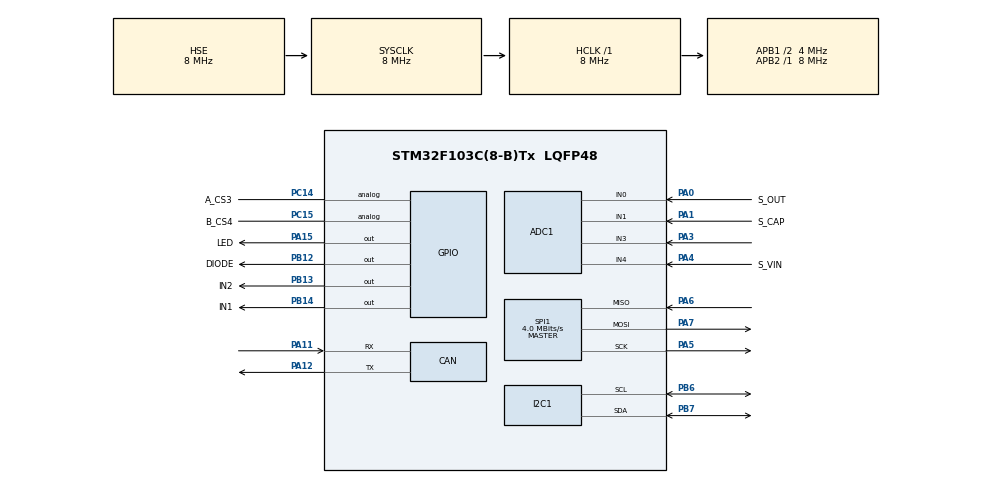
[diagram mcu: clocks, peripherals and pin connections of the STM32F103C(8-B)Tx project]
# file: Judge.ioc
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ADC1.Channel-0\#ChannelRegularConversion=ADC_CHANNEL_0
ADC1.ContinuousConvMode=DISABLE
ADC1.DataAlign=ADC_DATAALIGN_RIGHT
ADC1.DiscontinuousConvMode=DISABLE
ADC1.EnableAnalogWatchDog=false
ADC1.EnableRegularConversion=ENABLE
ADC1.ExternalTrigConv=ADC_SOFTWARE_START
ADC1.InjNumberOfConversion=0
ADC1.NbrOfConversion=1
ADC1.NbrOfConversionFlag=1
ADC1.Rank-0\#ChannelRegularConversion=1
ADC1.SamplingTime-0\#ChannelRegularConversion=ADC_SAMPLETIME_1CYCLE_5
ADC1.ScanConvMode=ADC_SCAN_DISABLE
ADC1.master=1
CAN.CalculateTimeBit=12000
CAN.CalculateTimeQuantum=4000.0
FREERTOS.INCLUDE_uxTaskGetStackHighWaterMark=1
FREERTOS.INCLUDE_vTaskDelayUntil=1
FREERTOS.Tasks01=defaultTask,0,128,StartDefaultTask,Default,NULL
FREERTOS.configCHECK_FOR_STACK_OVERFLOW=1
FREERTOS.configTIMER_TASK_STACK_DEPTH=128
FREERTOS.configUSE_TIMERS=1
FREERTOS.configUSE_TRACE_FACILITY=1
Mcu.Family=STM32F1
Mcu.Name=STM32F103C(8-B)Tx
Mcu.Package=LQFP48
NVIC.PriorityGroup=NVIC_PRIORITYGROUP_4
NVIC.TIM3_IRQn=true\:5\:0\:true\:false\:true\:true\:true
NVIC.TIM4_IRQn=true\:0\:0\:false\:false\:true\:false\:false
NVIC.TimeBase=TIM4_IRQn
NVIC.TimeBaseIP=TIM4
PA0-WKUP.GPIO_Label=S_OUT
PA0-WKUP.Signal=SharedAnalog_PA0
PA1.GPIO_Label=S_CAP
PA1.Signal=SharedAnalog_PA1
PA11.Mode=Master
PA11.Signal=CAN_RX
PA12.Mode=Master
PA12.Signal=CAN_TX
PA13.Mode=Serial_Wire
PA13.Signal=SYS_JTMS-SWDIO
PA14.Mode=Serial_Wire
PA14.Signal=SYS_JTCK-SWCLK
PA15.GPIO_Label=LED
PA15.Signal=GPIO_Output
PA3.Signal=SharedAnalog_PA3
PA4.GPIO_Label=S_VIN
PA4.Signal=SharedAnalog_PA4
PA5.Mode=Full_Duplex_Master
PA5.Signal=SPI1_SCK
PA6.Mode=Full_Duplex_Master
PA6.Signal=SPI1_MISO
PA7.Mode=Full_Duplex_Master
PA7.Signal=SPI1_MOSI
PB12.GPIO_Label=DIODE
PB12.Signal=GPIO_Output
PB13.GPIO_Label=IN2
PB13.Signal=GPIO_Output
PB14.GPIO_Label=IN1
PB14.Signal=GPIO_Output
PB6.Mode=I2C
PB6.Signal=I2C1_SCL
PB7.Mode=I2C
PB7.Signal=I2C1_SDA
PC14-OSC32_IN.GPIO_Label=A_CS3
PC14-OSC32_IN.Signal=GPIO_Analog
PC15-OSC32_OUT.GPIO_Label=B_CS4
PC15-OSC32_OUT.Signal=GPIO_Analog
PD0-OSC_IN.Mode=HSE-External-Oscillator
PD0-OSC_IN.Signal=RCC_OSC_IN
PD1-OSC_OUT.Mode=HSE-External-Oscillator
PD1-OSC_OUT.Signal=RCC_OSC_OUT
ProjectManager.HeapSize=0x200
ProjectManager.StackSize=0x400
ProjectManager.TargetToolchain=MDK-ARM V5
RCC.ADCPresc=RCC_ADCPCLK2_DIV6
RCC.AHBFreq_Value=8000000
RCC.APB1CLKDivider=RCC_HCLK_DIV2
RCC.APB1Freq_Value=4000000
RCC.APB1TimFreq_Value=8000000
RCC.APB2Freq_Value=8000000
RCC.APB2TimFreq_Value=8000000
RCC.HCLKFreq_Value=8000000
RCC.PLLMUL=RCC_PLL_MUL9
RCC.PLLSourceVirtual=RCC_PLLSOURCE_HSE
RCC.SYSCLKFreq_VALUE=8000000
RCC.SYSCLKSource=RCC_SYSCLKSOURCE_HSE
RCC.USBFreq_Value=72000000
SH.SharedAnalog_PA0.0=GPIO_Analog
SH.SharedAnalog_PA0.1=ADC1_IN0,IN0
SH.SharedAnalog_PA1.0=GPIO_Analog
SH.SharedAnalog_PA1.1=ADC1_IN1,IN1
SH.SharedAnalog_PA3.0=GPIO_Analog
SH.SharedAnalog_PA3.1=ADC1_IN3,IN3
SH.SharedAnalog_PA4.0=GPIO_Analog
SH.SharedAnalog_PA4.1=ADC1_IN4,IN4
SPI1.CalculateBaudRate=4.0 MBits/s
SPI1.Direction=SPI_DIRECTION_2LINES
SPI1.Mode=SPI_MODE_MASTER
SPI1.VirtualType=VM_MASTER
TIM3.Period=10000
TIM3.Prescaler=72-1
VP_FREERTOS_VS_ENABLE.Mode=Enabled
VP_SYS_VS_tim4.Mode=TIM4
VP_TIM3_VS_ClockSourceINT.Mode=Internal
board=Judge

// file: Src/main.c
/**
  ******************************************************************************
  * File Name          : main.c
  * Description        : Main program body
  ******************************************************************************
  * This notice applies to any and all portions of this file
  * that are not between comment pairs USER CODE BEGIN and
  * USER CODE END. Other portions of this file, whether
  * inserted by the user or by software development tools
  * are owned by their respective copyright owners.
  *
  * Copyright (c) 2020 STMicroelectronics International N.V.
  * All rights reserved.
  *
  * Redistribution and use in source and binary forms, with or without
  * modification, are permitted, provided that the following conditions are met:
  *
  * 1. Redistribution of source code must retain the above copyright notice,
  *    this list of conditions and the following disclaimer.
  * 2. Redistributions in binary form must reproduce the above copyright notice,
  *    this list of conditions and the following disclaimer in the documentation
  *    and/or other materials provided with the distribution.
  * 3. Neither the name of STMicroelectronics nor the names of other
  *    contributors to this software may be used to endorse or promote products
  *    derived from this software without specific written permission.
  * 4. This software, including modifications and/or derivative works of this
  *    software, must execute solely and exclusively on microcontroller or
  *    microprocessor devices manufactured by or for STMicroelectronics.
  * 5. Redistribution and use of this software other than as permitted under
  *    this license is void and will automatically terminate your rights under
  *    this license.
  *
  * THIS SOFTWARE IS PROVIDED BY STMICROELECTRONICS AND CONTRIBUTORS "AS IS"
  * AND ANY EXPRESS, IMPLIED OR STATUTORY WARRANTIES, INCLUDING, BUT NOT
  * LIMITED TO, THE IMPLIED WARRANTIES OF MERCHANTABILITY, FITNESS FOR A
  * PARTICULAR PURPOSE AND NON-INFRINGEMENT OF THIRD PARTY INTELLECTUAL PROPERTY
  * RIGHTS ARE DISCLAIMED TO THE FULLEST EXTENT PERMITTED BY LAW. IN NO EVENT
  * SHALL STMICROELECTRONICS OR CONTRIBUTORS BE LIABLE FOR ANY DIRECT, INDIRECT,
  * INCIDENTAL, SPECIAL, EXEMPLARY, OR CONSEQUENTIAL DAMAGES (INCLUDING, BUT NOT
  * LIMITED TO, PROCUREMENT OF SUBSTITUTE GOODS OR SERVICES; LOSS OF USE, DATA,
  * OR PROFITS; OR BUSINESS INTERRUPTION) HOWEVER CAUSED AND ON ANY THEORY OF
  * LIABILITY, WHETHER IN CONTRACT, STRICT LIABILITY, OR TORT (INCLUDING
  * NEGLIGENCE OR OTHERWISE) ARISING IN ANY WAY OUT OF THE USE OF THIS SOFTWARE,
  * EVEN IF ADVISED OF THE POSSIBILITY OF SUCH DAMAGE.
  *
  ******************************************************************************
  */

#include "main.h"
#include "stm32f1xx_hal.h"
#include "cmsis_os.h"
#include "adc.h"
#include "can.h"
#include "i2c.h"
#include "spi.h"
#include "tim.h"
#include "gpio.h"
#include "LED.h"
#include "bxCAN.h"
#include "stm32f1xx_hal.h"
#include "gpio.h"

/* USER CODE BEGIN PV */
/* Private variables ---------------------------------------------------------*/

/* USER CODE END PV */

void SystemClock_Config(void);
void MX_FREERTOS_Init(void);

/* USER CODE BEGIN PFP */
/* Private function prototypes -----------------------------------------------*/

/* USER CODE END PFP */

/* USER CODE BEGIN 0 */
static	int i;
static	int j;
/* USER CODE END 0 */

int main(void)
{

  /* MCU Configuration----------------------------------------------------------*/

  /* Reset of all peripherals, Initializes the Flash interface and the Systick. */
  HAL_Init();
	i = 0;
	j = 0;

  /* Configure the system clock */
  SystemClock_Config();
	i++;

  /* Initialize all configured peripherals */
  MX_GPIO_Init();
  MX_TIM3_Init();
  MX_ADC1_Init();
  MX_CAN_Init();
  MX_I2C1_Init();
  MX_SPI1_Init();
	i++;
  /* USER CODE BEGIN 2 */
	extern void can_processInit();
	extern void LED_init();
	extern void pathMonitorInit();
	extern void buckInit();
	extern void voltMoninit();
	extern void pathControlInit();
	extern void canFeedbackInit();
	can_processInit();
	LED_init();
	pathMonitorInit();
	buckInit();
	voltMoninit();
	pathControlInit();
	canFeedbackInit();
	i = i+1;
  /* USER CODE END 2 */

  /* Call init function for freertos objects (in freertos.c) */
  MX_FREERTOS_Init();

  /* Start scheduler */

	extern void App_Task_Create();
	App_Task_Create();
	osKernelStart();
	i++;
  vTaskStartScheduler();
  /* We should never get here as control is now taken by the scheduler */

  /* Infinite loop */
  while (1)
  {

  }

}

/** System Clock Configuration
*/
void SystemClock_Config(void)
{

  RCC_OscInitTypeDef RCC_OscInitStruct;
  RCC_ClkInitTypeDef RCC_ClkInitStruct;
  RCC_PeriphCLKInitTypeDef PeriphClkInit;

    /**Initializes the CPU, AHB and APB busses clocks
    */
  RCC_OscInitStruct.OscillatorType = RCC_OSCILLATORTYPE_HSE;
  RCC_OscInitStruct.HSEState = RCC_HSE_ON;
  RCC_OscInitStruct.PLL.PLLState = RCC_PLL_NONE;
  if (HAL_RCC_OscConfig(&RCC_OscInitStruct) != HAL_OK)
  {
    _Error_Handler(__FILE__, __LINE__);
  }

    /**Initializes the CPU, AHB and APB busses clocks
    */
  RCC_ClkInitStruct.ClockType = RCC_CLOCKTYPE_HCLK|RCC_CLOCKTYPE_SYSCLK
                              |RCC_CLOCKTYPE_PCLK1|RCC_CLOCKTYPE_PCLK2;
  RCC_ClkInitStruct.SYSCLKSource = RCC_SYSCLKSOURCE_HSE;
  RCC_ClkInitStruct.AHBCLKDivider = RCC_SYSCLK_DIV1;
  RCC_ClkInitStruct.APB1CLKDivider = RCC_HCLK_DIV2;
  RCC_ClkInitStruct.APB2CLKDivider = RCC_HCLK_DIV1;

  if (HAL_RCC_ClockConfig(&RCC_ClkInitStruct, FLASH_LATENCY_0) != HAL_OK)
  {
    _Error_Handler(__FILE__, __LINE__);
  }

  PeriphClkInit.PeriphClockSelection = RCC_PERIPHCLK_ADC;
  PeriphClkInit.AdcClockSelection = RCC_ADCPCLK2_DIV6;
  if (HAL_RCCEx_PeriphCLKConfig(&PeriphClkInit) != HAL_OK)
  {
    _Error_Handler(__FILE__, __LINE__);
  }

    /**Configure the Systick interrupt time
    */
  HAL_SYSTICK_Config(HAL_RCC_GetHCLKFreq()/1000);

    /**Configure the Systick
    */
  HAL_SYSTICK_CLKSourceConfig(SYSTICK_CLKSOURCE_HCLK);

  /* SysTick_IRQn interrupt configuration */
  HAL_NVIC_SetPriority(SysTick_IRQn, 15, 0);
}

void HAL_TIM_PeriodElapsedCallback(TIM_HandleTypeDef *htim)
{
  if (htim->Instance == TIM4) {
    HAL_IncTick();
  }
}

void _Error_Handler(char * file, int line)
{
  while(1)
  {
  }
}

/************************ (C) COPYRIGHT STMicroelectronics *****END OF FILE****/

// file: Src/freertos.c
/**
  ******************************************************************************
  * File Name          : freertos.c
  * Description        : Code for freertos applications
  ******************************************************************************
  * This notice applies to any and all portions of this file
  * that are not between comment pairs USER CODE BEGIN and
  * USER CODE END. Other portions of this file, whether
  * inserted by the user or by software development tools
  * are owned by their respective copyright owners.
  *
  * Copyright (c) 2020 STMicroelectronics International N.V.
  * All rights reserved.
  *
  * Redistribution and use in source and binary forms, with or without
  * modification, are permitted, provided that the following conditions are met:
  *
  * 1. Redistribution of source code must retain the above copyright notice,
  *    this list of conditions and the following disclaimer.
  * 2. Redistributions in binary form must reproduce the above copyright notice,
  *    this list of conditions and the following disclaimer in the documentation
  *    and/or other materials provided with the distribution.
  * 3. Neither the name of STMicroelectronics nor the names of other
  *    contributors to this software may be used to endorse or promote products
  *    derived from this software without specific written permission.
  * 4. This software, including modifications and/or derivative works of this
  *    software, must execute solely and exclusively on microcontroller or
  *    microprocessor devices manufactured by or for STMicroelectronics.
  * 5. Redistribution and use of this software other than as permitted under
  *    this license is void and will automatically terminate your rights under
  *    this license.
  *
  * THIS SOFTWARE IS PROVIDED BY STMICROELECTRONICS AND CONTRIBUTORS "AS IS"
  * AND ANY EXPRESS, IMPLIED OR STATUTORY WARRANTIES, INCLUDING, BUT NOT
  * LIMITED TO, THE IMPLIED WARRANTIES OF MERCHANTABILITY, FITNESS FOR A
  * PARTICULAR PURPOSE AND NON-INFRINGEMENT OF THIRD PARTY INTELLECTUAL PROPERTY
  * RIGHTS ARE DISCLAIMED TO THE FULLEST EXTENT PERMITTED BY LAW. IN NO EVENT
  * SHALL STMICROELECTRONICS OR CONTRIBUTORS BE LIABLE FOR ANY DIRECT, INDIRECT,
  * INCIDENTAL, SPECIAL, EXEMPLARY, OR CONSEQUENTIAL DAMAGES (INCLUDING, BUT NOT
  * LIMITED TO, PROCUREMENT OF SUBSTITUTE GOODS OR SERVICES; LOSS OF USE, DATA,
  * OR PROFITS; OR BUSINESS INTERRUPTION) HOWEVER CAUSED AND ON ANY THEORY OF
  * LIABILITY, WHETHER IN CONTRACT, STRICT LIABILITY, OR TORT (INCLUDING
  * NEGLIGENCE OR OTHERWISE) ARISING IN ANY WAY OUT OF THE USE OF THIS SOFTWARE,
  * EVEN IF ADVISED OF THE POSSIBILITY OF SUCH DAMAGE.
  *
  ******************************************************************************
  */

#include "FreeRTOS.h"
#include "task.h"
#include "cmsis_os.h"

osThreadId defaultTaskHandle;

void StartDefaultTask(void const * argument);

void MX_FREERTOS_Init(void); /* (MISRA C 2004 rule 8.1) */

/* Hook prototypes */
void vApplicationStackOverflowHook(xTaskHandle xTask, signed char *pcTaskName);

/* USER CODE BEGIN 4 */
__weak void vApplicationStackOverflowHook(xTaskHandle xTask, signed char *pcTaskName)
{
   /* Run time stack overflow checking is performed if
   configCHECK_FOR_STACK_OVERFLOW is defined to 1 or 2. This hook function is
   called if a stack overflow is detected. */
}
/* USER CODE END 4 */

/* Init FreeRTOS */

void MX_FREERTOS_Init(void) {

  /* Create the thread(s) */
  /* definition and creation of defaultTask */
  osThreadDef(defaultTask, StartDefaultTask, osPriorityBelowNormal, 0, 128);
  defaultTaskHandle = osThreadCreate(osThread(defaultTask), NULL);

}

/* StartDefaultTask function */
void StartDefaultTask(void const * argument)
{

  for(;;)
  {
    osDelay(1);
  }
}

/************************ (C) COPYRIGHT STMicroelectronics *****END OF FILE****/
